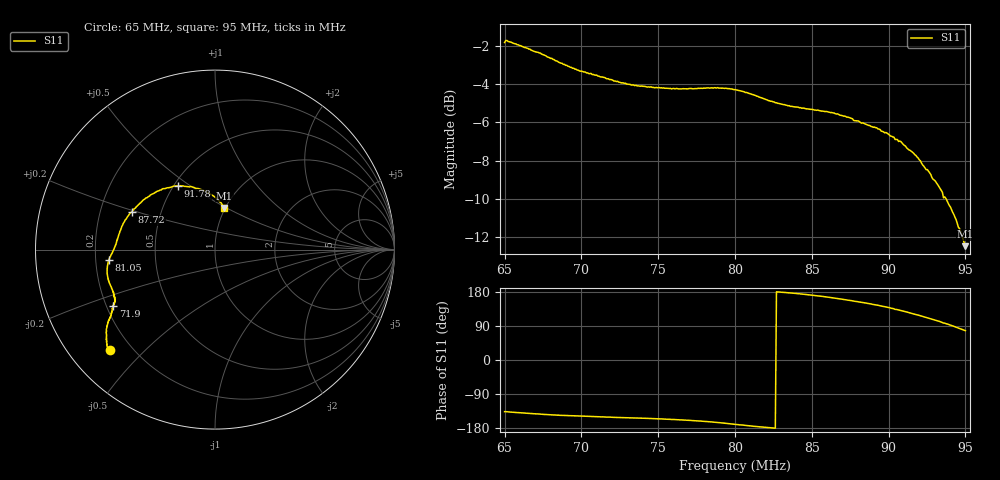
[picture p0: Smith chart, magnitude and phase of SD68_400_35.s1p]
! NanoVNA-App
! Date: 2025-08-02 16:34:33
! Start: 65MHz Stop: 95MHz Points: 401
! S-Parameter data: F S11
# Hz S RI R 50
!  Frequency  S11_Real  S11_Imag
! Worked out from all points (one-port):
!   401 points, 65 MHz to 95 MHz, reference 50 ohm
!   lowest |S11| = -12.5 dB at 95 MHz (marker M1), VSWR 1.62, Z = 49.5 + j24.4 ohm
!   |S11| at or under -10 dB: 93.75 MHz to end of sweep
!   S11 on the Smith chart (normalised r, x): 65 MHz: 0.12, -0.40; 71.9 MHz: 0.23, -0.25; 81.05 MHz: 0.25, -0.05; 87.72 MHz: 0.34, +0.19; 91.78 MHz: 0.53, +0.45; 95 MHz: 0.99, +0.49
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6.5e7  -0.5866 -0.5604
6.5225e7  -0.5958 -0.5584
6.65e7  -0.6061 -0.4971
6.7475e7  -0.6044 -0.452
6.875e7  -0.5948 -0.398
6.9875e7  -0.5779 -0.3653
7.19e7  -0.5677 -0.3154
7.25e7  -0.5624 -0.3023
7.3625e7  -0.5573 -0.2826
7.625e7  -0.5685 -0.2339
7.8275e7  -0.5902 -0.1814
8e7  -0.6014 -0.1068
8.105e7  -0.5914 -0.0601
8.375e7  -0.5507 0.0359
8.5025e7  -0.536 0.0835
8.6e7  -0.5194 0.1289
8.75e7  -0.4745 0.2008
8.7725e7  -0.4619 0.2102
8.93e7  -0.3925 0.2803
9.02e7  -0.3338 0.3183
9.0725e7  -0.2952 0.3369
9.125e7  -0.2505 0.3462
9.1775e7  -0.2057 0.3558
9.26e7  -0.1293 0.3503
9.335e7  -0.0664 0.33
9.4175e7  0.000581 0.2916
9.47e7  0.0366 0.2562
9.5e7  0.052 0.2321
